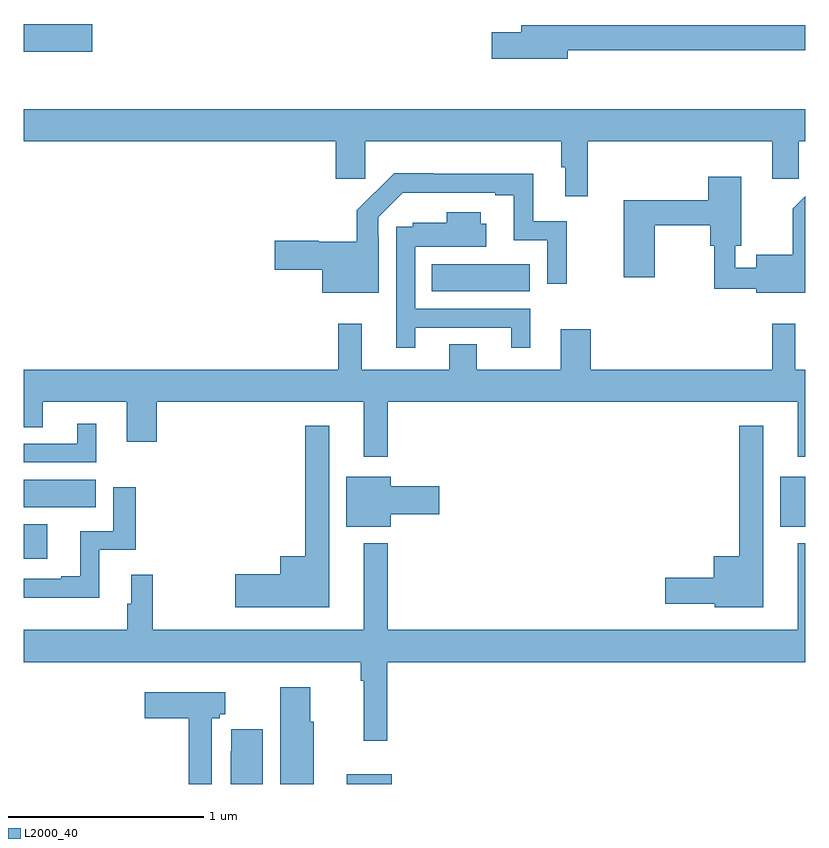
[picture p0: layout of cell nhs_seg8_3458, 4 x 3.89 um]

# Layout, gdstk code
import gdstk
lib = gdstk.Library(unit=1e-6, precision=1e-09)
def R(c, l, rs):  # rectangles x0, y0, x1, y1
    for r in rs: c.add(gdstk.rectangle(r[:2], r[2:], *l))
def P(c, l, *ps):  # polygons
    for p in ps: c.add(gdstk.Polygon(p, *l))
L2000_40 = (2000, 40)

nhs_seg8_3458 = lib.new_cell('nhs_seg8_3458')
R(nhs_seg8_3458, L2000_40, [(326.654,1091.9,326.884,1091.95), (325,1093.052,325.12,1093.228), (328.871,1093.217,329,1093.471), (325,1093.316,325.369,1093.456), (327.088,1094.42,327.589,1094.56), (325,1095.646,325.351,1095.788)])
P(nhs_seg8_3458, L2000_40, [(327.784,1095.654),(329,1095.654),(329,1095.782),(327.545,1095.782),(327.545,1095.746),(327.396,1095.746),(327.396,1095.611),(327.784,1095.611)],
  [(327.887,1095.188),(328.829,1095.188),(328.829,1094.997),(328.967,1094.997),(328.967,1095.188),(329,1095.188),(329,1095.352),(325,1095.352),(325,1095.188),(326.597,1095.188),(326.597,1094.997),(326.747,1094.997),(326.747,1095.188),(327.751,1095.188),(327.751,1095.056),(327.77,1095.056),(327.77,1094.907),(327.887,1094.907)],
  [(326.817,1094.699),(326.814,1094.699),(326.814,1094.799),(326.94,1094.925),(327.413,1094.925),(327.413,1094.913),(327.509,1094.913),(327.509,1094.682),(327.678,1094.682),(327.678,1094.46),(327.779,1094.46),(327.779,1094.778),(327.607,1094.778),(327.607,1095.022),(327.095,1095.022),(327.095,1095.025),(326.896,1095.025),(326.705,1094.834),(326.705,1094.673),(326.511,1094.673),(326.511,1094.678),(326.286,1094.678),(326.286,1094.531),(326.528,1094.531),(326.528,1094.414),(326.817,1094.414)],
  [(329,1094.908),(328.934,1094.842),(328.934,1094.608),(328.749,1094.608),(328.749,1094.541),(328.641,1094.541),(328.641,1094.654),(328.672,1094.654),(328.672,1095.007),(328.502,1095.007),(328.502,1094.887),(328.07,1094.887),(328.07,1094.493),(328.228,1094.493),(328.228,1094.758),(328.514,1094.758),(328.514,1094.654),(328.533,1094.654),(328.533,1094.433),(328.748,1094.433),(328.748,1094.414),(329,1094.414)],
  [(327.004,1094.235),(327.494,1094.235),(327.494,1094.133),(327.592,1094.133),(327.592,1094.331),(327.003,1094.331),(327.003,1094.648),(327.367,1094.648),(327.367,1094.766),(327.34,1094.766),(327.34,1094.824),(327.164,1094.824),(327.164,1094.77),(326.991,1094.77),(326.991,1094.751),(326.907,1094.751),(326.907,1094.133),(327.004,1094.133)],
  [(326.863,1093.856),(328.961,1093.856),(328.961,1093.575),(329,1093.575),(329,1094.02),(328.949,1094.02),(328.949,1094.254),(328.831,1094.254),(328.831,1094.02),(327.902,1094.02),(327.902,1094.227),(327.749,1094.227),(327.749,1094.02),(327.319,1094.02),(327.319,1094.15),(327.179,1094.15),(327.179,1094.02),(326.729,1094.02),(326.729,1094.254),(326.611,1094.254),(326.611,1094.02),(325,1094.02),(325,1093.726),(325.099,1093.726),(325.099,1093.856),(325.529,1093.856),(325.529,1093.65),(325.682,1093.65),(325.682,1093.856),(326.741,1093.856),(326.741,1093.575),(326.863,1093.575)],
  [(325.372,1093.744),(325.274,1093.744),(325.274,1093.641),(325,1093.641),(325,1093.545),(325.372,1093.545)],
  [(326.563,1093.732),(326.442,1093.732),(326.442,1093.066),(326.312,1093.066),(326.312,1092.974),(326.082,1092.974),(326.082,1092.803),(326.563,1092.803)],
  [(328.783,1093.732),(328.662,1093.732),(328.662,1093.066),(328.532,1093.066),(328.532,1092.956),(328.284,1092.956),(328.284,1092.821),(328.536,1092.821),(328.536,1092.803),(328.783,1092.803)],
  [(326.878,1093.28),(327.127,1093.28),(327.127,1093.422),(326.878,1093.422),(326.878,1093.471),(326.651,1093.471),(326.651,1093.217),(326.878,1093.217)],
  [(325.387,1093.098),(325.574,1093.098),(325.574,1093.417),(325.458,1093.417),(325.458,1093.194),(325.289,1093.194),(325.289,1092.964),(325.193,1092.964),(325.193,1092.951),(325,1092.951),(325,1092.854),(325.387,1092.854)],
  [(326.861,1092.524),(329,1092.524),(329,1093.132),(328.961,1093.132),(328.961,1092.688),(326.863,1092.688),(326.863,1093.132),(326.741,1093.132),(326.741,1092.688),(325.66,1092.688),(325.66,1092.97),(325.55,1092.97),(325.55,1092.821),(325.531,1092.821),(325.531,1092.688),(325,1092.688),(325,1092.524),(326.725,1092.524),(326.725,1092.428),(326.74,1092.428),(326.74,1092.12),(326.861,1092.12)],
  [(326.485,1092.219),(326.467,1092.219),(326.467,1092.394),(326.312,1092.394),(326.312,1091.9),(326.485,1091.9)],
  [(325.962,1092.236),(326.004,1092.236),(326.004,1092.256),(326.033,1092.256),(326.033,1092.37),(325.62,1092.37),(325.62,1092.236),(325.846,1092.236),(325.846,1091.9),(325.962,1091.9)],
  [(326.224,1092.181),(326.063,1092.181),(326.063,1092.068),(326.06,1092.068),(326.06,1091.9),(326.224,1091.9)])

lib.write_gds('nhs_seg8_3458.gds')
